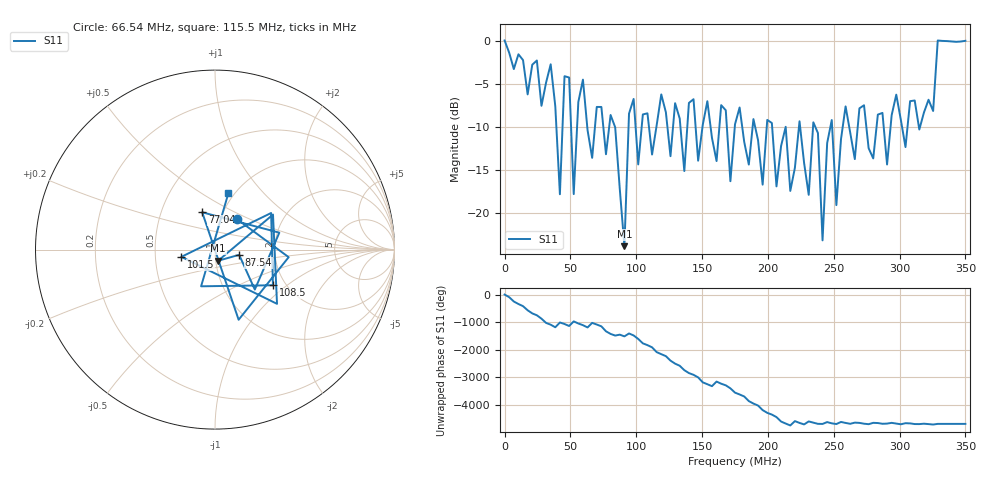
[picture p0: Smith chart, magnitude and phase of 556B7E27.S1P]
!File created by NanoVNA
# Hz S RI R 50
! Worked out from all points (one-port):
!   101 points, 50 kHz to 350 MHz, reference 50 ohm
!   lowest |S11| = -23.8 dB at 91.04 MHz (marker M1), VSWR 1.14, Z = 51.4 - j6.41 ohm
!   |S11| at or under -10 dB: 62.82 MHz to 68.67 MHz (5.851 MHz wide, 8.9 % of centre); 83.91 MHz to 94.19 MHz (10.27 MHz wide, 11.5 % of centre); 236 MHz to 247.5 MHz (11.47 MHz wide, 4.74 % of centre) (the widest 3 of 24)
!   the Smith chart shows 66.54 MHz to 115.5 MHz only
!   S11 on the Smith chart (normalised r, x): 66.54 MHz: 1.20, +0.42; 77.04 MHz: 0.80, +0.35; 87.54 MHz: 1.31, -0.08; 101.5 MHz: 0.68, -0.06; 108.5 MHz: 1.72, -0.80; 115.5 MHz: 0.94, +0.66
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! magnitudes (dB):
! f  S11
! 50 kHz  0.0
! 35.05 MHz  -2.7
! 42.04 MHz  -17.8
! 45.54 MHz  -4.1
! 49.04 MHz  -4.3
! 52.54 MHz  -17.8
! 59.54 MHz  -4.5
! 66.54 MHz  -13.6
! 77.04 MHz  -13.2
! 87.54 MHz  -17.2
! 91.04 MHz  -23.8
! 94.54 MHz  -8.5
! 101.5 MHz  -14.3
! 108.5 MHz  -8.4
! 115.5 MHz  -9.8
! 133 MHz  -9.0
! 136.5 MHz  -15.1
! 168 MHz  -8.1
! 171.5 MHz  -16.3
! 175 MHz  -9.7
! 220.5 MHz  -14.7
! 238 MHz  -10.7
! 241.5 MHz  -23.1
! 248.5 MHz  -9.2
! 252 MHz  -19.1
! 262.5 MHz  -10.7
! 308 MHz  -7.0
! 350 MHz  0.0
